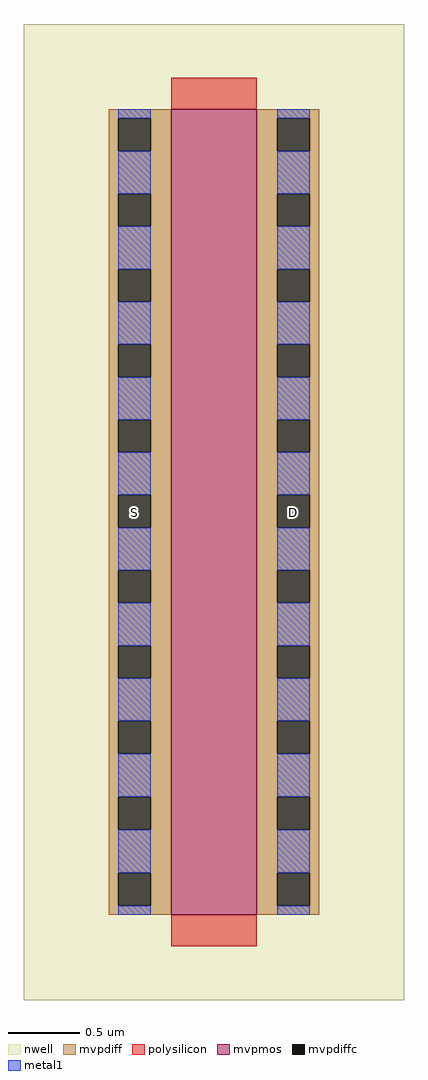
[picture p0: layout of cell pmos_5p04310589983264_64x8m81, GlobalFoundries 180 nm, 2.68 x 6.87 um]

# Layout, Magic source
magic
tech gf180mcuA
magscale 1 10
<< nwell >>
rect -208 -120 328 1254
<< mvpmos >>
rect 0 0 120 1134
<< mvpdiff >>
rect -88 1121 0 1134
rect -88 1075 -75 1121
rect -29 1075 0 1121
rect -88 1015 0 1075
rect -88 969 -75 1015
rect -29 969 0 1015
rect -88 909 0 969
rect -88 863 -75 909
rect -29 863 0 909
rect -88 803 0 863
rect -88 757 -75 803
rect -29 757 0 803
rect -88 697 0 757
rect -88 651 -75 697
rect -29 651 0 697
rect -88 591 0 651
rect -88 545 -75 591
rect -29 545 0 591
rect -88 485 0 545
rect -88 439 -75 485
rect -29 439 0 485
rect -88 379 0 439
rect -88 333 -75 379
rect -29 333 0 379
rect -88 273 0 333
rect -88 227 -75 273
rect -29 227 0 273
rect -88 166 0 227
rect -88 120 -75 166
rect -29 120 0 166
rect -88 59 0 120
rect -88 13 -75 59
rect -29 13 0 59
rect -88 0 0 13
rect 120 1121 208 1134
rect 120 1075 149 1121
rect 195 1075 208 1121
rect 120 1015 208 1075
rect 120 969 149 1015
rect 195 969 208 1015
rect 120 909 208 969
rect 120 863 149 909
rect 195 863 208 909
rect 120 803 208 863
rect 120 757 149 803
rect 195 757 208 803
rect 120 697 208 757
rect 120 651 149 697
rect 195 651 208 697
rect 120 591 208 651
rect 120 545 149 591
rect 195 545 208 591
rect 120 485 208 545
rect 120 439 149 485
rect 195 439 208 485
rect 120 379 208 439
rect 120 333 149 379
rect 195 333 208 379
rect 120 273 208 333
rect 120 227 149 273
rect 195 227 208 273
rect 120 166 208 227
rect 120 120 149 166
rect 195 120 208 166
rect 120 59 208 120
rect 120 13 149 59
rect 195 13 208 59
rect 120 0 208 13
<< mvpdiffc >>
rect -75 1075 -29 1121
rect -75 969 -29 1015
rect -75 863 -29 909
rect -75 757 -29 803
rect -75 651 -29 697
rect -75 545 -29 591
rect -75 439 -29 485
rect -75 333 -29 379
rect -75 227 -29 273
rect -75 120 -29 166
rect -75 13 -29 59
rect 149 1075 195 1121
rect 149 969 195 1015
rect 149 863 195 909
rect 149 757 195 803
rect 149 651 195 697
rect 149 545 195 591
rect 149 439 195 485
rect 149 333 195 379
rect 149 227 195 273
rect 149 120 195 166
rect 149 13 195 59
<< polysilicon >>
rect 0 1134 120 1178
rect 0 -44 120 0
<< metal1 >>
rect -75 1121 -29 1134
rect -75 1015 -29 1075
rect -75 909 -29 969
rect -75 803 -29 863
rect -75 697 -29 757
rect -75 591 -29 651
rect -75 485 -29 545
rect -75 379 -29 439
rect -75 273 -29 333
rect -75 166 -29 227
rect -75 59 -29 120
rect -75 0 -29 13
rect 149 1121 195 1134
rect 149 1015 195 1075
rect 149 909 195 969
rect 149 803 195 863
rect 149 697 195 757
rect 149 591 195 651
rect 149 485 195 545
rect 149 379 195 439
rect 149 273 195 333
rect 149 166 195 227
rect 149 59 195 120
rect 149 0 195 13
<< labels >>
flabel metal1 s -52 567 -52 567 0 FreeSans 400 0 0 0 S
flabel metal1 s 172 567 172 567 0 FreeSans 400 0 0 0 D
<< properties >>
string GDS_END 49832
string GDS_FILE $PDKPATH/libs.ref/gf180mcu_fd_ip_sram/gds/gf180mcu_fd_ip_sram__sram64x8m8wm1.gds
string GDS_START 47464
<< end >>
